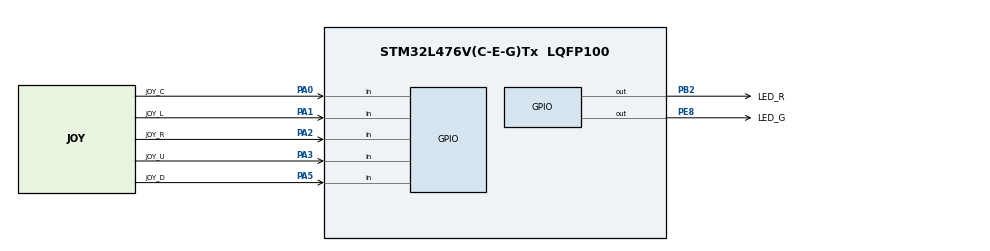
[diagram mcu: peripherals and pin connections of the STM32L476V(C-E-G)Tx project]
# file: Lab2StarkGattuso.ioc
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Mcu.Family=STM32L4
Mcu.Name=STM32L476V(C-E-G)Tx
Mcu.Package=LQFP100
NVIC.PriorityGroup=NVIC_PRIORITYGROUP_4
PA0.GPIO_Label=JOY_C
PA0.GPIO_PuPd=GPIO_PULLDOWN
PA0.Signal=GPIO_Input
PA1.GPIO_Label=JOY_L
PA1.GPIO_PuPd=GPIO_PULLDOWN
PA1.Signal=GPIO_Input
PA2.GPIO_Label=JOY_R
PA2.GPIO_PuPd=GPIO_PULLDOWN
PA2.Signal=GPIO_Input
PA3.GPIO_Label=JOY_U
PA3.GPIO_PuPd=GPIO_PULLDOWN
PA3.Signal=GPIO_Input
PA5.GPIO_Label=JOY_D
PA5.GPIO_PuPd=GPIO_PULLDOWN
PA5.Signal=GPIO_Input
PB2.GPIO_Label=LED_R
PB2.PinState=GPIO_PIN_SET
PB2.Signal=GPIO_Output
PE8.GPIO_Label=LED_G
PE8.PinState=GPIO_PIN_SET
PE8.Signal=GPIO_Output
ProjectManager.HeapSize=0x200
ProjectManager.StackSize=0x400
ProjectManager.TargetToolchain=MDK-ARM V5
RCC.HSE_VALUE=8000000
RCC.HSI_VALUE=16000000
RCC.LSE_VALUE=32768
RCC.MSI_VALUE=4000000
RCC.VCOOutputFreq_Value=32000000
board=custom

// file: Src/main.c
/* USER CODE BEGIN Header */
/**
  ******************************************************************************
  * @file           : main.c
  * @brief          : Main program body
  ******************************************************************************
  ** This notice applies to any and all portions of this file
  * that are not between comment pairs USER CODE BEGIN and
  * USER CODE END. Other portions of this file, whether
  * inserted by the user or by software development tools
  * are owned by their respective copyright owners.
  *
  * COPYRIGHT(c) 2019 STMicroelectronics
  *
  * Redistribution and use in source and binary forms, with or without modification,
  * are permitted provided that the following conditions are met:
  *   1. Redistributions of source code must retain the above copyright notice,
  *      this list of conditions and the following disclaimer.
  *   2. Redistributions in binary form must reproduce the above copyright notice,
  *      this list of conditions and the following disclaimer in the documentation
  *      and/or other materials provided with the distribution.
  *   3. Neither the name of STMicroelectronics nor the names of its contributors
  *      may be used to endorse or promote products derived from this software
  *      without specific prior written permission.
  *
  * THIS SOFTWARE IS PROVIDED BY THE COPYRIGHT HOLDERS AND CONTRIBUTORS "AS IS"
  * AND ANY EXPRESS OR IMPLIED WARRANTIES, INCLUDING, BUT NOT LIMITED TO, THE
  * IMPLIED WARRANTIES OF MERCHANTABILITY AND FITNESS FOR A PARTICULAR PURPOSE ARE
  * DISCLAIMED. IN NO EVENT SHALL THE COPYRIGHT HOLDER OR CONTRIBUTORS BE LIABLE
  * FOR ANY DIRECT, INDIRECT, INCIDENTAL, SPECIAL, EXEMPLARY, OR CONSEQUENTIAL
  * DAMAGES (INCLUDING, BUT NOT LIMITED TO, PROCUREMENT OF SUBSTITUTE GOODS OR
  * SERVICES; LOSS OF USE, DATA, OR PROFITS; OR BUSINESS INTERRUPTION) HOWEVER
  * CAUSED AND ON ANY THEORY OF LIABILITY, WHETHER IN CONTRACT, STRICT LIABILITY,
  * OR TORT (INCLUDING NEGLIGENCE OR OTHERWISE) ARISING IN ANY WAY OUT OF THE USE
  * OF THIS SOFTWARE, EVEN IF ADVISED OF THE POSSIBILITY OF SUCH DAMAGE.
  *
  ******************************************************************************
  */
/* USER CODE END Header */

#include "main.h"

void SystemClock_Config(void);
static void MX_GPIO_Init(void);

int main(void)
{

  /* MCU Configuration--------------------------------------------------------*/

  /* Reset of all peripherals, Initializes the Flash interface and the Systick. */
  HAL_Init();

  /* Configure the system clock */
  SystemClock_Config();

  /* Initialize all configured peripherals */
  MX_GPIO_Init();

  /* Infinite loop */
  while (1)
  {

    /* USER CODE BEGIN 3 */
		if (HAL_GPIO_ReadPin(JOY_L_GPIO_Port, JOY_L_Pin)) {	//LEFT
			HAL_GPIO_WritePin(LED_G_GPIO_Port, LED_G_Pin, GPIO_PIN_RESET);
			HAL_GPIO_WritePin(LED_R_GPIO_Port, LED_R_Pin, GPIO_PIN_SET);
			HAL_Delay(2000);
		} else if (HAL_GPIO_ReadPin(JOY_R_GPIO_Port, JOY_R_Pin)) { //RIGHT
			HAL_GPIO_WritePin(LED_G_GPIO_Port, LED_G_Pin, GPIO_PIN_SET);
			HAL_GPIO_WritePin(LED_R_GPIO_Port, LED_R_Pin, GPIO_PIN_RESET);
			HAL_Delay(2000);
		} else if (HAL_GPIO_ReadPin(JOY_U_GPIO_Port, JOY_U_Pin)) { //UP
			HAL_GPIO_WritePin(LED_R_GPIO_Port, LED_R_Pin, GPIO_PIN_SET);
			HAL_GPIO_WritePin(LED_G_GPIO_Port, LED_G_Pin, GPIO_PIN_SET);
			HAL_Delay(2000);
		} else if (HAL_GPIO_ReadPin(JOY_D_GPIO_Port, JOY_D_Pin)) { //DOWN
			HAL_GPIO_WritePin(LED_R_GPIO_Port, LED_R_Pin, GPIO_PIN_RESET);
			HAL_GPIO_WritePin(LED_G_GPIO_Port, LED_G_Pin, GPIO_PIN_RESET);
			HAL_Delay(2000);
		} else if (HAL_GPIO_ReadPin(JOY_C_GPIO_Port, JOY_C_Pin)) { //CENTER
			HAL_GPIO_WritePin(LED_R_GPIO_Port, LED_R_Pin, GPIO_PIN_SET);
			HAL_GPIO_WritePin(LED_G_GPIO_Port, LED_G_Pin, GPIO_PIN_SET);

			for(int i = 0; i < 10; i++) {
				HAL_Delay(200);
				HAL_GPIO_TogglePin(LED_G_GPIO_Port,LED_G_Pin);
				HAL_GPIO_TogglePin(LED_R_GPIO_Port, LED_R_Pin);
			}

		} else { //NONE
			HAL_GPIO_WritePin(LED_G_GPIO_Port, LED_G_Pin, GPIO_PIN_SET);
			HAL_GPIO_WritePin(LED_R_GPIO_Port, LED_R_Pin, GPIO_PIN_RESET);

			HAL_Delay(100);
			HAL_GPIO_TogglePin(LED_G_GPIO_Port,LED_G_Pin);
			HAL_GPIO_TogglePin(LED_R_GPIO_Port, LED_R_Pin);
			HAL_Delay(100);

		}
  }
  /* USER CODE END 3 */
}

void SystemClock_Config(void)
{
  RCC_OscInitTypeDef RCC_OscInitStruct = {0};
  RCC_ClkInitTypeDef RCC_ClkInitStruct = {0};

  /**Initializes the CPU, AHB and APB busses clocks
  */
  RCC_OscInitStruct.OscillatorType = RCC_OSCILLATORTYPE_MSI;
  RCC_OscInitStruct.MSIState = RCC_MSI_ON;
  RCC_OscInitStruct.MSICalibrationValue = 0;
  RCC_OscInitStruct.MSIClockRange = RCC_MSIRANGE_6;
  RCC_OscInitStruct.PLL.PLLState = RCC_PLL_NONE;
  if (HAL_RCC_OscConfig(&RCC_OscInitStruct) != HAL_OK)
  {
    Error_Handler();
  }
  /**Initializes the CPU, AHB and APB busses clocks
  */
  RCC_ClkInitStruct.ClockType = RCC_CLOCKTYPE_HCLK|RCC_CLOCKTYPE_SYSCLK
                              |RCC_CLOCKTYPE_PCLK1|RCC_CLOCKTYPE_PCLK2;
  RCC_ClkInitStruct.SYSCLKSource = RCC_SYSCLKSOURCE_MSI;
  RCC_ClkInitStruct.AHBCLKDivider = RCC_SYSCLK_DIV1;
  RCC_ClkInitStruct.APB1CLKDivider = RCC_HCLK_DIV1;
  RCC_ClkInitStruct.APB2CLKDivider = RCC_HCLK_DIV1;

  if (HAL_RCC_ClockConfig(&RCC_ClkInitStruct, FLASH_LATENCY_0) != HAL_OK)
  {
    Error_Handler();
  }
  /**Configure the main internal regulator output voltage
  */
  if (HAL_PWREx_ControlVoltageScaling(PWR_REGULATOR_VOLTAGE_SCALE1) != HAL_OK)
  {
    Error_Handler();
  }
}

static void MX_GPIO_Init(void)
{
  GPIO_InitTypeDef GPIO_InitStruct = {0};

  /* GPIO Ports Clock Enable */
  __HAL_RCC_GPIOA_CLK_ENABLE();
  __HAL_RCC_GPIOB_CLK_ENABLE();
  __HAL_RCC_GPIOE_CLK_ENABLE();

  /*Configure GPIO pin Output Level */
  HAL_GPIO_WritePin(LED_R_GPIO_Port, LED_R_Pin, GPIO_PIN_SET);

  /*Configure GPIO pin Output Level */
  HAL_GPIO_WritePin(LED_G_GPIO_Port, LED_G_Pin, GPIO_PIN_SET);

  /*Configure GPIO pins : JOY_C_Pin JOY_L_Pin JOY_R_Pin JOY_U_Pin
                           JOY_D_Pin */
  GPIO_InitStruct.Pin = JOY_C_Pin|JOY_L_Pin|JOY_R_Pin|JOY_U_Pin
                          |JOY_D_Pin;
  GPIO_InitStruct.Mode = GPIO_MODE_INPUT;
  GPIO_InitStruct.Pull = GPIO_PULLDOWN;
  HAL_GPIO_Init(GPIOA, &GPIO_InitStruct);

  /*Configure GPIO pin : LED_R_Pin */
  GPIO_InitStruct.Pin = LED_R_Pin;
  GPIO_InitStruct.Mode = GPIO_MODE_OUTPUT_PP;
  GPIO_InitStruct.Pull = GPIO_NOPULL;
  GPIO_InitStruct.Speed = GPIO_SPEED_FREQ_LOW;
  HAL_GPIO_Init(LED_R_GPIO_Port, &GPIO_InitStruct);

  /*Configure GPIO pin : LED_G_Pin */
  GPIO_InitStruct.Pin = LED_G_Pin;
  GPIO_InitStruct.Mode = GPIO_MODE_OUTPUT_PP;
  GPIO_InitStruct.Pull = GPIO_NOPULL;
  GPIO_InitStruct.Speed = GPIO_SPEED_FREQ_LOW;
  HAL_GPIO_Init(LED_G_GPIO_Port, &GPIO_InitStruct);

}

void Error_Handler(void)
{
}

/************************ (C) COPYRIGHT STMicroelectronics *****END OF FILE****/
